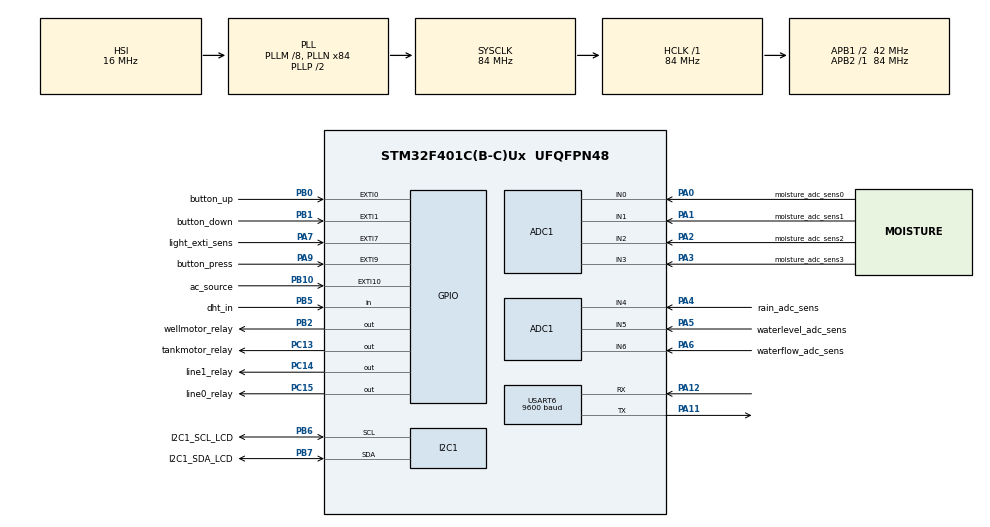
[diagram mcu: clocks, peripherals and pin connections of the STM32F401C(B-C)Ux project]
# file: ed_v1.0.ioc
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Mcu.Family=STM32F4
RCC.CortexFreq_Value=84000000
RTC.Alarm=RTC_ALARM_A
SH.ADCx_IN2.0=ADC1_IN2,IN2
ADC1.SamplingTime-6\#ChannelRegularConversion=ADC_SAMPLETIME_15CYCLES
VP_RTC_VS_RTC_Activate.Mode=RTC_Enabled
RTC.WeekDay=RTC_WEEKDAY_MONDAY
PA11.Mode=Asynchronous
PB0.GPIO_Label=button_up
PA6.GPIO_Label=waterflow_adc_sens
PB6.GPIO_Label=I2C1_SCL_LCD
PC15-OSC32_OUT.GPIO_Label=line0_relay
VP_RTC_VS_RTC_Alarm_A_Intern.Mode=Alarm A
RCC.SYSCLKSource=RCC_SYSCLKSOURCE_PLLCLK
ProjectManager.StackSize=0x400
RTC.AlarmDateWeekDay=RTC_WEEKDAY_WEDNESDAY
NVIC.ADC_IRQn=true\:0\:0\:false\:false\:true\:true\:true
NVIC.EXTI1_IRQn=true\:0\:0\:false\:false\:true\:true\:true
PA12.Signal=USART6_RX
RTC.SynchPrediv=285
TIM1.Prescaler=84-1
PH0\ -\ OSC_IN.Signal=RCC_OSC_IN
ADC1.Channel-5\#ChannelRegularConversion=ADC_CHANNEL_5
ADC1.Channel-3\#ChannelRegularConversion=ADC_CHANNEL_3
PB1.GPIO_PuPd=GPIO_PULLDOWN
RCC.HCLKFreq_Value=84000000
SH.ADCx_IN3.0=ADC1_IN3,IN3
RCC.APB2TimFreq_Value=84000000
PB6.Signal=I2C1_SCL
Dma.ADC1.0.Direction=DMA_PERIPH_TO_MEMORY
ADC1.Channel-2\#ChannelRegularConversion=ADC_CHANNEL_2
PB6.Mode=I2C
NVIC.DMA2_Stream0_IRQn=true\:0\:0\:false\:false\:true\:false\:true
Dma.ADC1.0.MemDataAlignment=DMA_MDATAALIGN_HALFWORD
RCC.AHBFreq_Value=84000000
NVIC.EXTI15_10_IRQn=true\:0\:0\:false\:false\:true\:true\:true
ADC1.Channel-0\#ChannelRegularConversion=ADC_CHANNEL_0
RCC.HSE_VALUE=25000000
RTC.Minutes=30
PB2.Signal=GPIO_Output
ADC1.ScanConvMode=ENABLE
PC13-ANTI_TAMP.Signal=GPIO_Output
ADC1.SamplingTime-4\#ChannelRegularConversion=ADC_SAMPLETIME_15CYCLES
ADC1.Channel-6\#ChannelRegularConversion=ADC_CHANNEL_6
ADC1.Rank-2\#ChannelRegularConversion=3
RTC.Month=RTC_MONTH_JUNE
PB1.GPIO_Label=button_down
Dma.ADC1.0.PeriphInc=DMA_PINC_DISABLE
PB7.Signal=I2C1_SDA
SH.ADCx_IN0.0=ADC1_IN0,IN0
PC15-OSC32_OUT.PinState=GPIO_PIN_SET
VP_TIM1_VS_ClockSourceINT.Mode=Internal
ADC1.SamplingTime-0\#ChannelRegularConversion=ADC_SAMPLETIME_15CYCLES
RTC.AlarmDateWeekDaySel=RTC_ALARMDATEWEEKDAYSEL_WEEKDAY
PB7.GPIO_Label=I2C1_SDA_LCD
Mcu.Package=UFQFPN48
PB1.Signal=GPXTI1
PA6.Signal=ADCx_IN6
PC14-OSC32_IN.PinState=GPIO_PIN_SET
USART6.VirtualMode=VM_ASYNC
PA2.GPIO_Label=moisture_adc_sens2
VP_RTC_VS_RTC_Calendar.Mode=RTC_Calendar
RTC.Hours_A=17
USART6.BaudRate=9600
SH.ADCx_IN1.0=ADC1_IN1,IN1
PB5.GPIO_Label=dht_in
RCC.APB1TimFreq_Value=84000000
Dma.ADC1.0.FIFOMode=DMA_FIFOMODE_DISABLE
PC14-OSC32_IN.GPIO_Label=line1_relay
TIM1.Period=0xffff-1
ADC1.Rank-6\#ChannelRegularConversion=7
Dma.Request0=ADC1
PA4.GPIO_Label=rain_adc_sens
RTC.Seconds_A=15
ADC1.Rank-4\#ChannelRegularConversion=5
PA3.Signal=ADCx_IN3
Dma.ADC1.0.Instance=DMA2_Stream0
ADC1.Rank-0\#ChannelRegularConversion=1
ADC1.Channel-4\#ChannelRegularConversion=ADC_CHANNEL_4
SH.ADCx_IN6.0=ADC1_IN6,IN6
PC13-ANTI_TAMP.GPIO_Label=tankmotor_relay
PA9.GPIO_Label=button_press
PH1\ -\ OSC_OUT.Mode=HSE-External-Oscillator
RTC.Minutes_A=30
RCC.APB1CLKDivider=RCC_HCLK_DIV2
PC14-OSC32_IN.Signal=GPIO_Output
ADC1.SamplingTime-2\#ChannelRegularConversion=ADC_SAMPLETIME_15CYCLES
PC13-ANTI_TAMP.PinState=GPIO_PIN_SET
PA0-WKUP.GPIO_Label=moisture_adc_sens0
PA0-WKUP.Signal=ADCx_IN0
NVIC.USART6_IRQn=true\:0\:0\:false\:false\:true\:true\:true
Dma.ADC1.0.PeriphDataAlignment=DMA_PDATAALIGN_HALFWORD
PH0\ -\ OSC_IN.Mode=HSE-External-Oscillator
ProjectManager.TargetToolchain=STM32CubeIDE
PB10.GPIO_Label=ac_source
RTC.Year=22
Dma.ADC1.0.Mode=DMA_NORMAL
I2C1.I2C_Mode=I2C_Fast
Dma.ADC1.0.Priority=DMA_PRIORITY_LOW
PA9.Signal=GPXTI9
ADC1.Channel-1\#ChannelRegularConversion=ADC_CHANNEL_1
RCC.LSE_VALUE=32768
PC15-OSC32_OUT.Signal=GPIO_Output
PA1.Signal=ADCx_IN1
PB10.Signal=GPXTI10
PA5.Signal=ADCx_IN5
PH1\ -\ OSC_OUT.Signal=RCC_OSC_OUT
board=custom
RCC.VCOOutputFreq_Value=168000000
ADC1.EnableAnalogWatchDog=false
RCC.APB2Freq_Value=84000000
PA1.GPIO_Label=moisture_adc_sens1
SH.ADCx_IN4.0=ADC1_IN4,IN4
ADC1.DMAContinuousRequests=ENABLE
ADC1.NbrOfConversion=7
NVIC.RTC_Alarm_IRQn=true\:0\:0\:false\:false\:true\:true\:true
PB2.PinState=GPIO_PIN_SET
Mcu.Name=STM32F401C(B-C)Ux
PA2.Signal=ADCx_IN2
RCC.48MHZClocksFreq_Value=42000000
NVIC.EXTI0_IRQn=true\:0\:0\:false\:false\:true\:true\:true
PA4.Signal=ADCx_IN4
ADC1.SamplingTime-1\#ChannelRegularConversion=ADC_SAMPLETIME_15CYCLES
RCC.SYSCLKFreq_VALUE=84000000
RTC.Hours=17
PB5.Signal=GPIO_Input
PA7.GPIO_Label=light_exti_sens
ADC1.master=1
PA12.Mode=Asynchronous
PA5.GPIO_Label=waterlevel_adc_sens
ADC1.Rank-3\#ChannelRegularConversion=4
ADC1.SamplingTime-3\#ChannelRegularConversion=ADC_SAMPLETIME_15CYCLES
ADC1.Rank-1\#ChannelRegularConversion=2
PB7.Mode=I2C
PA11.Signal=USART6_TX
NVIC.EXTI9_5_IRQn=true\:0\:0\:false\:false\:true\:true\:true
Dma.ADC1.0.MemInc=DMA_MINC_ENABLE
PB2.GPIO_Label=wellmotor_relay
ProjectManager.HeapSize=0x200
ADC1.SamplingTime-5\#ChannelRegularConversion=ADC_SAMPLETIME_15CYCLES
RCC.HSI_VALUE=16000000
SH.ADCx_IN5.0=ADC1_IN5,IN5
NVIC.PriorityGroup=NVIC_PRIORITYGROUP_4
ADC1.NbrOfConversionFlag=1
RCC.PLLM=8
RCC.PLLN=84
RTC.Seconds=10
RCC.APB1Freq_Value=42000000
PB0.Signal=GPXTI0
RTC.Date=13
ADC1.Rank-5\#ChannelRegularConversion=6
PB0.GPIO_PuPd=GPIO_PULLDOWN
PA3.GPIO_Label=moisture_adc_sens3
PA7.Signal=GPXTI7

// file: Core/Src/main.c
/* USER CODE BEGIN Header */
/**
  ******************************************************************************
  * @file           : main.cIGULI
  * @brief          : Main program body
  ******************************************************************************
  * @attention
  *
  * <h2><center>&copy; Copyright (c) 2022 STMicroelectronics.
  * All rights reserved.</center></h2>
  *
  * This software component is licensed by ST under BSD 3-Clause license,
  * the "License"; You may not use this file except in compliance with the
  * License. You may obtain a copy of the License at:
  *                        opensource.org/licenses/BSD-3-Clause
  *
  ******************************************************************************
  */
/* USER CODE END Header */
#include "main.h"

/* USER CODE BEGIN Includes */
#include "adc_conversion_handler.h"
#include "lcd16x2_i2c.h"
#include "i2c-lcd.h"
#include "stdio.h"
#include "stdbool.h"
#include "stdint.h"
#include "string.h"
#include "stdlib.h"
#include "cJSON.h"
/* USER CODE END Includes */

/* USER CODE BEGIN PD */
#define DHT11_PORT GPIOB
#define DHT11_PIN GPIO_PIN_5
/* USER CODE END PD */

ADC_HandleTypeDef hadc1;
DMA_HandleTypeDef hdma_adc1;

I2C_HandleTypeDef hi2c1;

RTC_HandleTypeDef hrtc;

TIM_HandleTypeDef htim1;

UART_HandleTypeDef huart6;

/* USER CODE BEGIN PV */

/* ADC Variables */
volatile uint16_t adc_result_dma[7];
const int adc_channel_lenght = sizeof(adc_result_dma) / sizeof(adc_result_dma[0]);
int adc_result_percentage[7];
const int moist_per_line[] = {2,2};
const int adc_line_number = 2;
const int adc_moist_number = 4;
int adc_result_line_avg_percentage = 0;
int adc_line_avg[2] = {0,0};
int adc_total_moist_avg = 0;

char adc_percentage_s0[5];
char adc_percentage_s1[5];
char adc_percentage_s2[5];
char adc_percentage_s3[5];

/* Menu Variable */
int menu_lcd_refresh = 0;
int menu_click = 0;
int menu_up = 0;
int menu_down = 0;
int next_page=0;
int current_page = 0;
int menu_refresher = 0;

/* Manual Mode Variables */
int mode_manual_start = 0;

/* Planner Mode Variables */
int planner_line_compare[2] = {50,80};
int planner_line_lenght = sizeof(planner_line_compare) /sizeof(planner_line_compare[0]);
int relay_set[2];
int relay_end_flag = 0;
int line_relays[] = {line0_relay_Pin, line1_relay_Pin};
int global_planner_start = 0;
int global_planner_active = 1;

int planner_start_time_hours = 17; //0-24
int planner_start_time_mins = 30; //0-60
int planner_weekdays [7] = {0,0,0,0,0,0,0};

/* Auto Mode Variables ------------------------------------------*/
int auto_modes[2][4][9] = {{{1,20,0,0,0,1,0,0,0}, {2,20,0,1,0,0,0,1,0}, {2,30,0,1,0,0,1,0,0}, {2,60,0,1,0,0,1,0,0}},
							{{1,30,0,0,0,1,0,0,0}, {2,30,0,1,0,0,0,1,0}, {3,60,0,1,0,1,0,1,0}, {3,120,0,1,0,1,0,1,0}}};

// 0:High Temp | 1:Low Temp | 2:High Moist | 3:Low Moist
int auto_limits[4] = {35,20,60,40};

// 0:Sapling | 1:Tree
int auto_irrigation_time[2];

/*	Index = 0:Sapling | 1:Tree
	Value = 0:Low | 1:Mid | 2:High */
int auto_mode_param[2];

int auto_start_time_hours = 18; //2400 format
int auto_start_time_mins = 0;
int auto_avg_temp = 0;
int auto_avg_airhum = 0;
int auto_week_skip_vector[7] = {0,0,0,0,0,0,0};
int week_reset_flag = 0;
int reset_day = 0;
/* Auto Mode Variables End------------------------------------------*/

/* Real Time Clock */
RTC_TimeTypeDef currTime = {0};
RTC_DateTypeDef currDate = {0};
char timeBuff[20];
char dateBuff[20];
int set_hours = 0; 		int set_minutes = 0; int set_seconds = 0;
int set_weekday = 0;  	int set_month = 0;   int set_date = 0;
int set_year = 0;

RTC_AlarmTypeDef sAlarmA = {0};
RTC_AlarmTypeDef sAlarmB = {0};
int current_hour = 0;
int current_min = 0;
int current_wday = 0;

/* DHT Temp Sensor Variables */
uint8_t Rh_byte1, Rh_byte2, Temp_byte1, Temp_byte2;
uint16_t SUM, RH, TEMP;

float inst_temperature = 0;
float inst_humidity = 0;
uint8_t Presence = 0;
char inst_temperature_s[5];
char inst_humidity_s[5];

/* ESP32-UART Variables */

char str_tempJSON[1000], str_humJSON[1000], str_flowJSON[1000], str_s1JSON[1000], str_s2JSON[1000];
char str_s3JSON[1000], str_s4JSON[800], str_rainJSON[800], str_daylightJSON[800], str_tankJSON[1000];
char str_modJSON[1000], str_relaytankJSON[800], str_relaywellJSON[1000], str_relayline1JSON[1000];
char str_relayline2JSON[1000], str_donewateringJSON[1000];
char str_debughourJSON[1000];
char str_debugminuteJSON[1000];
char str_debugskipdayJSON[1000];

int wellrelay = 0;
int tankrelay = 0;
int line1relay = 0;
int line2relay = 0;
int donewatering = 0;
int rain = 0;
int daylight = 0;
int current_mode = 0;
int waterflow = 0;
int auto_select = 0;

char JSON[1200];
char rx_buffer[200];

uint8_t rx_data = 0;
unsigned int rx_index = 0;

cJSON *str_json, *str_c_tempJSON;
long last = 0;

/* DEBUG Variables */
int yanked;
int x =0;
int a =5;
int b=8;
int testDummy_manual = 0;
int nextday_dummy = 0;
int mode_dummy = 0;
int debug_hours = 0;
int debug_mins = 0;
int auto_debug_weekday = 0;
int debug_auto_case =0;
int skipday = 0;

/* USER CODE END PV */

void SystemClock_Config(void);
static void MX_GPIO_Init(void);
static void MX_DMA_Init(void);
static void MX_RTC_Init(void);
static void MX_I2C1_Init(void);
static void MX_TIM1_Init(void);
static void MX_ADC1_Init(void);
static void MX_USART6_UART_Init(void);
/* USER CODE BEGIN PFP */

//MENU
void menu_func(int refresh, int reset);
void lcd_initial_message();

//MODES
void mode_manual(int start);
void mode_planner(int auto_current_mode, int start);
void mode_auto();

//DELAY
void delay_us (uint16_t us);

//DHT PROTOTYPES
void DHT11_Start (void);
uint8_t DHT11_Check_Response (void);
uint8_t DHT11_Read (void);
void Set_Pin_Input (GPIO_TypeDef *GPIOx, uint16_t GPIO_Pin);
void Set_Pin_Output (GPIO_TypeDef *GPIOx, uint16_t GPIO_Pin);
void DHT11_get_value();

//RTC PROTOTYPES
void set_time (int set_hours, int set_minutes, int set_weekday);
void get_time();
void set_alarm(int hours_hex, int mins_hex, int weekday_hex);
int bcdToDec(int val);
int decToBcd(int val);

//ESP32 Connections
void SendData(unsigned int tempJSON, unsigned int humJSON, unsigned int flowJSON, unsigned int s1JSON, unsigned int s2JSON,
		unsigned int s3JSON, unsigned int s4JSON, unsigned int rainJSON, unsigned int daylightJSON, unsigned int tankJSON,
		unsigned int modJSON, unsigned int relaytankJSON, unsigned int relaywellJSON, unsigned int relayline1JSON,
		unsigned int relayline2JSON, unsigned int donewateringJSON,
		unsigned int debughourJSON, unsigned int debugminuteJSON, unsigned int debugskipdayJSON);

void uart_received(void);
void clearbufferEnd(void);
void XuLyJson(char *DataJson);

/* USER CODE END PFP */

int main(void)
{

  /* MCU Configuration--------------------------------------------------------*/

  /* Reset of all peripherals, Initializes the Flash interface and the Systick. */
  HAL_Init();

  /* Configure the system clock */
  SystemClock_Config();

  /* Initialize all configured peripherals */
  MX_GPIO_Init();
  MX_DMA_Init();
  MX_RTC_Init();
  MX_I2C1_Init();
  MX_TIM1_Init();
  MX_ADC1_Init();
  MX_USART6_UART_Init();
  /* USER CODE BEGIN 2 */

  HAL_RTCEx_SetSmoothCalib(&hrtc, RTC_SMOOTHCALIB_PERIOD_32SEC, RTC_SMOOTHCALIB_PLUSPULSES_RESET, -511);
  HAL_TIM_Base_Start(&htim1);
  lcd_initial_message();
  HAL_UART_Receive_IT(&huart6, &rx_data, 1);
  last = HAL_GetTick();

  /* USER CODE END 2 */

  /* Infinite loop */
  while (1)
  {

    /* USER CODE BEGIN 3 */
	  HAL_Delay(500);
	  DHT11_get_value();
	  HAL_Delay(900);
	  get_time();
	  HAL_ADC_Start_DMA(&hadc1, (uint32_t*)adc_result_dma, adc_channel_lenght);
	  if(menu_refresher == 10){
		  menu_lcd_refresh = 1;
		  menu_refresher = 0;
	  }else{
		  menu_refresher++;
	  }

	  if(HAL_GetTick() - last >= 1500){
	  		  SendData(inst_temperature, inst_humidity, waterflow ,adc_result_percentage[0],
	  				  adc_result_percentage[1],adc_result_percentage[2], adc_result_percentage[3], rain, daylight,
					  adc_result_percentage[5], current_mode, tankrelay, wellrelay, line1relay, line2relay,
					  donewatering, current_hour, current_min, skipday);
	  		  last = HAL_GetTick();
	  	  }
	  mode_planner(0, global_planner_start);
	  menu_func(menu_lcd_refresh, 0);
	  HAL_Delay(100);

	  if(nextday_dummy){
		  set_time (decToBcd(17), decToBcd(30), auto_debug_weekday);
	  }
  }
  /* USER CODE END 3 */
}

void SystemClock_Config(void)
{
  RCC_OscInitTypeDef RCC_OscInitStruct = {0};
  RCC_ClkInitTypeDef RCC_ClkInitStruct = {0};
  RCC_PeriphCLKInitTypeDef PeriphClkInitStruct = {0};

  /** Configure the main internal regulator output voltage
  */
  __HAL_RCC_PWR_CLK_ENABLE();
  __HAL_PWR_VOLTAGESCALING_CONFIG(PWR_REGULATOR_VOLTAGE_SCALE2);
  /** Initializes the RCC Oscillators according to the specified parameters
  * in the RCC_OscInitTypeDef structure.
  */
  RCC_OscInitStruct.OscillatorType = RCC_OSCILLATORTYPE_HSI|RCC_OSCILLATORTYPE_LSI;
  RCC_OscInitStruct.HSIState = RCC_HSI_ON;
  RCC_OscInitStruct.HSICalibrationValue = RCC_HSICALIBRATION_DEFAULT;
  RCC_OscInitStruct.LSIState = RCC_LSI_ON;
  RCC_OscInitStruct.PLL.PLLState = RCC_PLL_ON;
  RCC_OscInitStruct.PLL.PLLSource = RCC_PLLSOURCE_HSI;
  RCC_OscInitStruct.PLL.PLLM = 8;
  RCC_OscInitStruct.PLL.PLLN = 84;
  RCC_OscInitStruct.PLL.PLLP = RCC_PLLP_DIV2;
  RCC_OscInitStruct.PLL.PLLQ = 4;
  if (HAL_RCC_OscConfig(&RCC_OscInitStruct) != HAL_OK)
  {
    Error_Handler();
  }
  /** Initializes the CPU, AHB and APB buses clocks
  */
  RCC_ClkInitStruct.ClockType = RCC_CLOCKTYPE_HCLK|RCC_CLOCKTYPE_SYSCLK
                              |RCC_CLOCKTYPE_PCLK1|RCC_CLOCKTYPE_PCLK2;
  RCC_ClkInitStruct.SYSCLKSource = RCC_SYSCLKSOURCE_PLLCLK;
  RCC_ClkInitStruct.AHBCLKDivider = RCC_SYSCLK_DIV1;
  RCC_ClkInitStruct.APB1CLKDivider = RCC_HCLK_DIV2;
  RCC_ClkInitStruct.APB2CLKDivider = RCC_HCLK_DIV1;

  if (HAL_RCC_ClockConfig(&RCC_ClkInitStruct, FLASH_LATENCY_2) != HAL_OK)
  {
    Error_Handler();
  }
  PeriphClkInitStruct.PeriphClockSelection = RCC_PERIPHCLK_RTC;
  PeriphClkInitStruct.RTCClockSelection = RCC_RTCCLKSOURCE_LSI;
  if (HAL_RCCEx_PeriphCLKConfig(&PeriphClkInitStruct) != HAL_OK)
  {
    Error_Handler();
  }
}

static void MX_ADC1_Init(void)
{

  ADC_ChannelConfTypeDef sConfig = {0};

  /** Configure the global features of the ADC (Clock, Resolution, Data Alignment and number of conversion)
  */
  hadc1.Instance = ADC1;
  hadc1.Init.ClockPrescaler = ADC_CLOCK_SYNC_PCLK_DIV4;
  hadc1.Init.Resolution = ADC_RESOLUTION_12B;
  hadc1.Init.ScanConvMode = ENABLE;
  hadc1.Init.ContinuousConvMode = DISABLE;
  hadc1.Init.DiscontinuousConvMode = DISABLE;
  hadc1.Init.ExternalTrigConvEdge = ADC_EXTERNALTRIGCONVEDGE_NONE;
  hadc1.Init.ExternalTrigConv = ADC_SOFTWARE_START;
  hadc1.Init.DataAlign = ADC_DATAALIGN_RIGHT;
  hadc1.Init.NbrOfConversion = 7;
  hadc1.Init.DMAContinuousRequests = ENABLE;
  hadc1.Init.EOCSelection = ADC_EOC_SINGLE_CONV;
  if (HAL_ADC_Init(&hadc1) != HAL_OK)
  {
    Error_Handler();
  }
  /** Configure for the selected ADC regular channel its corresponding rank in the sequencer and its sample time.
  */
  sConfig.Channel = ADC_CHANNEL_0;
  sConfig.Rank = 1;
  sConfig.SamplingTime = ADC_SAMPLETIME_15CYCLES;
  if (HAL_ADC_ConfigChannel(&hadc1, &sConfig) != HAL_OK)
  {
    Error_Handler();
  }
  /** Configure for the selected ADC regular channel its corresponding rank in the sequencer and its sample time.
  */
  sConfig.Channel = ADC_CHANNEL_1;
  sConfig.Rank = 2;
  if (HAL_ADC_ConfigChannel(&hadc1, &sConfig) != HAL_OK)
  {
    Error_Handler();
  }
  /** Configure for the selected ADC regular channel its corresponding rank in the sequencer and its sample time.
  */
  sConfig.Channel = ADC_CHANNEL_2;
  sConfig.Rank = 3;
  if (HAL_ADC_ConfigChannel(&hadc1, &sConfig) != HAL_OK)
  {
    Error_Handler();
  }
  /** Configure for the selected ADC regular channel its corresponding rank in the sequencer and its sample time.
  */
  sConfig.Channel = ADC_CHANNEL_3;
  sConfig.Rank = 4;
  if (HAL_ADC_ConfigChannel(&hadc1, &sConfig) != HAL_OK)
  {
    Error_Handler();
  }
  /** Configure for the selected ADC regular channel its corresponding rank in the sequencer and its sample time.
  */
  sConfig.Channel = ADC_CHANNEL_4;
  sConfig.Rank = 5;
  if (HAL_ADC_ConfigChannel(&hadc1, &sConfig) != HAL_OK)
  {
    Error_Handler();
  }
  /** Configure for the selected ADC regular channel its corresponding rank in the sequencer and its sample time.
  */
  sConfig.Channel = ADC_CHANNEL_5;
  sConfig.Rank = 6;
  if (HAL_ADC_ConfigChannel(&hadc1, &sConfig) != HAL_OK)
  {
    Error_Handler();
  }
  /** Configure for the selected ADC regular channel its corresponding rank in the sequencer and its sample time.
  */
  sConfig.Channel = ADC_CHANNEL_6;
  sConfig.Rank = 7;
  if (HAL_ADC_ConfigChannel(&hadc1, &sConfig) != HAL_OK)
  {
    Error_Handler();
  }

}

static void MX_I2C1_Init(void)
{

  hi2c1.Instance = I2C1;
  hi2c1.Init.ClockSpeed = 400000;
  hi2c1.Init.DutyCycle = I2C_DUTYCYCLE_2;
  hi2c1.Init.OwnAddress1 = 0;
  hi2c1.Init.AddressingMode = I2C_ADDRESSINGMODE_7BIT;
  hi2c1.Init.DualAddressMode = I2C_DUALADDRESS_DISABLE;
  hi2c1.Init.OwnAddress2 = 0;
  hi2c1.Init.GeneralCallMode = I2C_GENERALCALL_DISABLE;
  hi2c1.Init.NoStretchMode = I2C_NOSTRETCH_DISABLE;
  if (HAL_I2C_Init(&hi2c1) != HAL_OK)
  {
    Error_Handler();
  }

}

static void MX_RTC_Init(void)
{

  RTC_TimeTypeDef sTime = {0};
  RTC_DateTypeDef sDate = {0};
  RTC_AlarmTypeDef sAlarm = {0};

  /** Initialize RTC Only
  */
  hrtc.Instance = RTC;
  hrtc.Init.HourFormat = RTC_HOURFORMAT_24;
  hrtc.Init.AsynchPrediv = 127;
  hrtc.Init.SynchPrediv = 285;
  hrtc.Init.OutPut = RTC_OUTPUT_DISABLE;
  hrtc.Init.OutPutPolarity = RTC_OUTPUT_POLARITY_HIGH;
  hrtc.Init.OutPutType = RTC_OUTPUT_TYPE_OPENDRAIN;
  if (HAL_RTC_Init(&hrtc) != HAL_OK)
  {
    Error_Handler();
  }

  /** Initialize RTC and set the Time and Date
  */
  sTime.Hours = 0x17;
  sTime.Minutes = 0x30;
  sTime.Seconds = 0x10;
  sTime.DayLightSaving = RTC_DAYLIGHTSAVING_NONE;
  sTime.StoreOperation = RTC_STOREOPERATION_RESET;
  if (HAL_RTC_SetTime(&hrtc, &sTime, RTC_FORMAT_BCD) != HAL_OK)
  {
    Error_Handler();
  }
  sDate.WeekDay = RTC_WEEKDAY_MONDAY;
  sDate.Month = RTC_MONTH_JUNE;
  sDate.Date = 0x13;
  sDate.Year = 0x22;

  if (HAL_RTC_SetDate(&hrtc, &sDate, RTC_FORMAT_BCD) != HAL_OK)
  {
    Error_Handler();
  }
  /** Enable the Alarm A
  */
  sAlarm.AlarmTime.Hours = 0x17;
  sAlarm.AlarmTime.Minutes = 0x30;
  sAlarm.AlarmTime.Seconds = 0x15;
  sAlarm.AlarmTime.SubSeconds = 0x0;
  sAlarm.AlarmTime.DayLightSaving = RTC_DAYLIGHTSAVING_NONE;
  sAlarm.AlarmTime.StoreOperation = RTC_STOREOPERATION_RESET;
  sAlarm.AlarmMask = RTC_ALARMMASK_NONE;
  sAlarm.AlarmSubSecondMask = RTC_ALARMSUBSECONDMASK_ALL;
  sAlarm.AlarmDateWeekDaySel = RTC_ALARMDATEWEEKDAYSEL_WEEKDAY;
  sAlarm.AlarmDateWeekDay = RTC_WEEKDAY_WEDNESDAY;
  sAlarm.Alarm = RTC_ALARM_A;
  if (HAL_RTC_SetAlarm_IT(&hrtc, &sAlarm, RTC_FORMAT_BCD) != HAL_OK)
  {
    Error_Handler();
  }

}

static void MX_TIM1_Init(void)
{

  TIM_ClockConfigTypeDef sClockSourceConfig = {0};
  TIM_MasterConfigTypeDef sMasterConfig = {0};

  htim1.Instance = TIM1;
  htim1.Init.Prescaler = 84-1;
  htim1.Init.CounterMode = TIM_COUNTERMODE_UP;
  htim1.Init.Period = 0xffff-1;
  htim1.Init.ClockDivision = TIM_CLOCKDIVISION_DIV1;
  htim1.Init.RepetitionCounter = 0;
  htim1.Init.AutoReloadPreload = TIM_AUTORELOAD_PRELOAD_DISABLE;
  if (HAL_TIM_Base_Init(&htim1) != HAL_OK)
  {
    Error_Handler();
  }
  sClockSourceConfig.ClockSource = TIM_CLOCKSOURCE_INTERNAL;
  if (HAL_TIM_ConfigClockSource(&htim1, &sClockSourceConfig) != HAL_OK)
  {
    Error_Handler();
  }
  sMasterConfig.MasterOutputTrigger = TIM_TRGO_RESET;
  sMasterConfig.MasterSlaveMode = TIM_MASTERSLAVEMODE_DISABLE;
  if (HAL_TIMEx_MasterConfigSynchronization(&htim1, &sMasterConfig) != HAL_OK)
  {
    Error_Handler();
  }

}

static void MX_USART6_UART_Init(void)
{

  huart6.Instance = USART6;
  huart6.Init.BaudRate = 9600;
  huart6.Init.WordLength = UART_WORDLENGTH_8B;
  huart6.Init.StopBits = UART_STOPBITS_1;
  huart6.Init.Parity = UART_PARITY_NONE;
  huart6.Init.Mode = UART_MODE_TX_RX;
  huart6.Init.HwFlowCtl = UART_HWCONTROL_NONE;
  huart6.Init.OverSampling = UART_OVERSAMPLING_16;
  if (HAL_UART_Init(&huart6) != HAL_OK)
  {
    Error_Handler();
  }

}

static void MX_DMA_Init(void)
{

  /* DMA controller clock enable */
  __HAL_RCC_DMA2_CLK_ENABLE();

  /* DMA interrupt init */
  /* DMA2_Stream0_IRQn interrupt configuration */
  HAL_NVIC_SetPriority(DMA2_Stream0_IRQn, 0, 0);
  HAL_NVIC_EnableIRQ(DMA2_Stream0_IRQn);

}

static void MX_GPIO_Init(void)
{
  GPIO_InitTypeDef GPIO_InitStruct = {0};

  /* GPIO Ports Clock Enable */
  __HAL_RCC_GPIOC_CLK_ENABLE();
  __HAL_RCC_GPIOH_CLK_ENABLE();
  __HAL_RCC_GPIOA_CLK_ENABLE();
  __HAL_RCC_GPIOB_CLK_ENABLE();

  /*Configure GPIO pin Output Level */
  HAL_GPIO_WritePin(GPIOC, tankmotor_relay_Pin|line1_relay_Pin|line0_relay_Pin, GPIO_PIN_SET);

  /*Configure GPIO pin Output Level */
  HAL_GPIO_WritePin(wellmotor_relay_GPIO_Port, wellmotor_relay_Pin, GPIO_PIN_SET);

  /*Configure GPIO pins : tankmotor_relay_Pin line1_relay_Pin line0_relay_Pin */
  GPIO_InitStruct.Pin = tankmotor_relay_Pin|line1_relay_Pin|line0_relay_Pin;
  GPIO_InitStruct.Mode = GPIO_MODE_OUTPUT_PP;
  GPIO_InitStruct.Pull = GPIO_NOPULL;
  GPIO_InitStruct.Speed = GPIO_SPEED_FREQ_LOW;
  HAL_GPIO_Init(GPIOC, &GPIO_InitStruct);

  /*Configure GPIO pins : light_exti_sens_Pin button_press_Pin */
  GPIO_InitStruct.Pin = light_exti_sens_Pin|button_press_Pin;
  GPIO_InitStruct.Mode = GPIO_MODE_IT_RISING;
  GPIO_InitStruct.Pull = GPIO_NOPULL;
  HAL_GPIO_Init(GPIOA, &GPIO_InitStruct);

  /*Configure GPIO pins : button_up_Pin button_down_Pin */
  GPIO_InitStruct.Pin = button_up_Pin|button_down_Pin;
  GPIO_InitStruct.Mode = GPIO_MODE_IT_RISING;
  GPIO_InitStruct.Pull = GPIO_PULLDOWN;
  HAL_GPIO_Init(GPIOB, &GPIO_InitStruct);

  /*Configure GPIO pin : wellmotor_relay_Pin */
  GPIO_InitStruct.Pin = wellmotor_relay_Pin;
  GPIO_InitStruct.Mode = GPIO_MODE_OUTPUT_PP;
  GPIO_InitStruct.Pull = GPIO_NOPULL;
  GPIO_InitStruct.Speed = GPIO_SPEED_FREQ_LOW;
  HAL_GPIO_Init(wellmotor_relay_GPIO_Port, &GPIO_InitStruct);

  /*Configure GPIO pin : ac_source_Pin */
  GPIO_InitStruct.Pin = ac_source_Pin;
  GPIO_InitStruct.Mode = GPIO_MODE_IT_RISING;
  GPIO_InitStruct.Pull = GPIO_NOPULL;
  HAL_GPIO_Init(ac_source_GPIO_Port, &GPIO_InitStruct);

  /*Configure GPIO pin : dht_in_Pin */
  GPIO_InitStruct.Pin = dht_in_Pin;
  GPIO_InitStruct.Mode = GPIO_MODE_INPUT;
  GPIO_InitStruct.Pull = GPIO_NOPULL;
  HAL_GPIO_Init(dht_in_GPIO_Port, &GPIO_InitStruct);

  /* EXTI interrupt init*/
  HAL_NVIC_SetPriority(EXTI0_IRQn, 0, 0);
  HAL_NVIC_EnableIRQ(EXTI0_IRQn);

  HAL_NVIC_SetPriority(EXTI1_IRQn, 0, 0);
  HAL_NVIC_EnableIRQ(EXTI1_IRQn);

  HAL_NVIC_SetPriority(EXTI9_5_IRQn, 0, 0);
  HAL_NVIC_EnableIRQ(EXTI9_5_IRQn);

  HAL_NVIC_SetPriority(EXTI15_10_IRQn, 0, 0);
  HAL_NVIC_EnableIRQ(EXTI15_10_IRQn);

}

/* USER CODE BEGIN 4 */

void delay_us (uint16_t us)
{
	__HAL_TIM_SET_COUNTER(&htim1,0);  // set the counter value a 0
	while (__HAL_TIM_GET_COUNTER(&htim1) < us);  // wait for the counter to reach the us input in the parameter
}

/*-----------------INTERRUPTS BEGIN-----------------------*/
void HAL_ADC_ConvCpltCallback(ADC_HandleTypeDef* hadc){
	if(hadc == &hadc1){
		for(int x =0; x<adc_moist_number-1; x++){
			adc_result_dma[x] = (adc_result_dma[x]> 2730) ? 2730:adc_result_dma[x];
			adc_result_dma[x] = (adc_result_dma[x]< 1260) ? 1260:adc_result_dma[x];
			adc_result_percentage[x] = 100-((adc_result_dma[x]-1260)*100/1470);
		}
		//Different Moisture Sensor
		adc_result_dma[3] = (adc_result_dma[3]> 3800) ? 3800:adc_result_dma[3];
		adc_result_dma[3] = (adc_result_dma[3]< 900) ? 900:adc_result_dma[3];
		adc_result_percentage[3] = 100-((adc_result_dma[3]-900)*100/2900);

		adc_result_percentage[5] =100-((adc_result_dma[5])*100/4000);

		//Water Tank Refill Algorithm
		if(adc_result_dma[5] < 1800){
			HAL_GPIO_WritePin(GPIOB, wellmotor_relay_Pin, GPIO_PIN_RESET);
			wellrelay = 1;
		}else{
			HAL_GPIO_WritePin(GPIOB, wellmotor_relay_Pin, GPIO_PIN_SET);
			wellrelay = 0;
		}
		rain = (adc_result_dma[4] < 2600) ? 1:0;
		daylight = (adc_result_dma[4] > 3000) ? 1:0;
		waterflow = ((adc_result_dma[6])*100/4000);

		//Produces Line and Total Average : adc_line_avg and adc_total_moist_avg
		adc_total_moist_avg = 0;
		int y =0;
		int per_line_offset = moist_per_line[0];
		for(int x = 0; x < adc_line_number; x++){
			adc_line_avg[x] = 0;
			for(; y < per_line_offset; y++){
				adc_line_avg[x] += adc_result_percentage[y];
			}
			adc_line_avg[x] /= moist_per_line[x];
		   per_line_offset += moist_per_line[x+1];
		   adc_total_moist_avg += adc_line_avg[x];
		}
		adc_total_moist_avg /= adc_line_number;
	}
}

void HAL_GPIO_EXTI_Callback(uint16_t GPIO_Pin)
{
	menu_lcd_refresh = 1;
    if(GPIO_Pin == button_up_Pin){
    	menu_up = 1;
    }else if(GPIO_Pin == button_down_Pin){
    	menu_down = 1;
    }else if(GPIO_Pin == button_press_Pin){
    	menu_click = 1;
    }
}

void HAL_RTC_AlarmAEventCallback(RTC_HandleTypeDef *hrtc)
{
	if(global_planner_active){
		global_planner_start = 1;
		mode_planner(0, global_planner_start);
	}
}

/*-----------------INTERRUPTS END-----------------------*/

/*-----------------DHT11 BEGIN--------------------------*/
void Set_Pin_Output (GPIO_TypeDef *GPIOx, uint16_t GPIO_Pin)
{
	GPIO_InitTypeDef GPIO_InitStruct = {0};
	GPIO_InitStruct.Pin = GPIO_Pin;
	GPIO_InitStruct.Mode = GPIO_MODE_OUTPUT_PP;
	GPIO_InitStruct.Speed = GPIO_SPEED_FREQ_LOW;
	HAL_GPIO_Init(GPIOx, &GPIO_InitStruct);
}

void Set_Pin_Input (GPIO_TypeDef *GPIOx, uint16_t GPIO_Pin)
{
	GPIO_InitTypeDef GPIO_InitStruct = {0};
	GPIO_InitStruct.Pin = GPIO_Pin;
	GPIO_InitStruct.Mode = GPIO_MODE_INPUT;
	GPIO_InitStruct.Pull = GPIO_PULLUP;
	HAL_GPIO_Init(GPIOx, &GPIO_InitStruct);
}

void DHT11_Start (void)
{
	Set_Pin_Output (DHT11_PORT, DHT11_PIN);  // set the pin as output
	HAL_GPIO_WritePin (DHT11_PORT, DHT11_PIN, GPIO_PIN_RESET);   // pull the pin low
	delay_us (18000);   // wait for 18ms
    HAL_GPIO_WritePin (DHT11_PORT, DHT11_PIN, GPIO_PIN_SET);   // pull the pin high
    delay_us (20);   // wait for 20us
	Set_Pin_Input(DHT11_PORT, DHT11_PIN);    // set as input
}

uint8_t DHT11_Check_Response (void)
{
	uint8_t Response = 0;
	delay_us (40);
	if (!(HAL_GPIO_ReadPin (DHT11_PORT, DHT11_PIN)))
	{
		delay_us (80);
		if ((HAL_GPIO_ReadPin (DHT11_PORT, DHT11_PIN))) Response = 1;
		else Response = -1; // 255
	}
	while ((HAL_GPIO_ReadPin (DHT11_PORT, DHT11_PIN)));   // wait for the pin to go low

	return Response;
}

uint8_t DHT11_Read (void)
{
	uint8_t i,j;
	for (j=0;j<8;j++)
	{
		while (!(HAL_GPIO_ReadPin (DHT11_PORT, DHT11_PIN)));   // wait for the pin to go high
		delay_us (40);   // wait for 40 us
		if (!(HAL_GPIO_ReadPin (DHT11_PORT, DHT11_PIN)))   // if the pin is low
		{
			i&= ~(1<<(7-j));   // write 0
		}
		else i|= (1<<(7-j));  // if the pin is high, write 1
		while ((HAL_GPIO_ReadPin (DHT11_PORT, DHT11_PIN)));  // wait for the pin to go low
	}
	return i;
}

void DHT11_get_value(){
	DHT11_Start();
	Presence = DHT11_Check_Response();
	Rh_byte1 = DHT11_Read ();
	Rh_byte2 = DHT11_Read ();
	Temp_byte1 = DHT11_Read ();
	Temp_byte2 = DHT11_Read ();
	SUM = DHT11_Read();
	TEMP = Temp_byte1;
	RH = Rh_byte1;
	inst_temperature = (float) TEMP;
	inst_humidity = (float) RH;
}

/*-----------------DHT11 END----------------------------*/

/*-----------------MODE FUNCTIONS BEGIN-----------------*/
void mode_manual(int start){
	if(start){
		  current_mode = 1;
		  donewatering = 0;
		  HAL_GPIO_WritePin(GPIOC, tankmotor_relay_Pin, GPIO_PIN_RESET);
		  HAL_GPIO_WritePin(GPIOB, wellmotor_relay_Pin, GPIO_PIN_RESET);
		  wellrelay = 1;
		  tankrelay = 1;
		  delay_us (5000);
		  HAL_GPIO_WritePin(GPIOC, line0_relay_Pin, GPIO_PIN_RESET);
		  HAL_GPIO_WritePin(GPIOC, line1_relay_Pin, GPIO_PIN_RESET);
		  line1relay = 1;
		  line2relay = 1;
	}else{
		current_mode = 0;
		donewatering = 1;
		  HAL_GPIO_WritePin(GPIOC, tankmotor_relay_Pin, GPIO_PIN_SET);
		  HAL_GPIO_WritePin(GPIOB, wellmotor_relay_Pin, GPIO_PIN_SET);
		  wellrelay = 0;
		  tankrelay = 0;
		  delay_us (5000);
		  HAL_GPIO_WritePin(GPIOC, line0_relay_Pin, GPIO_PIN_SET);
		  HAL_GPIO_WritePin(GPIOC, line1_relay_Pin, GPIO_PIN_SET);
		  line1relay = 0;
		  line2relay = 0;
	}
}

void mode_planner(int auto_current_mode, int start){
	if(auto_current_mode == 0 && start == 1){
		current_mode = 2;
		donewatering = 0;
		HAL_GPIO_WritePin(GPIOC, tankmotor_relay_Pin, GPIO_PIN_RESET);
		HAL_GPIO_WritePin(GPIOB, wellmotor_relay_Pin, GPIO_PIN_RESET);
		wellrelay = 1;
		tankrelay = 1;
		delay_us(1000);
		HAL_GPIO_WritePin(GPIOC, line0_relay_Pin, GPIO_PIN_RESET);
		HAL_GPIO_WritePin(GPIOC, line1_relay_Pin, GPIO_PIN_RESET);
		line1relay = 1;
		line2relay = 1;
		for(int x = 0; x < adc_line_number; x++){
			//for(int x = 0; x < moist_per_line[a]; x++){
			if(adc_line_avg[x] >= planner_line_compare[x]){
				relay_set[x] = 1;	//Debug
				relay_end_flag = (relay_end_flag == 2) ? 2:relay_end_flag+1;
				HAL_GPIO_WritePin(GPIOC, line_relays[x], GPIO_PIN_SET);
				line1relay = (x) ? 1:0;
				line2relay = (x) ? 0:1;
			}else{
				relay_set[x] = 0;	//Debug
				relay_end_flag = (relay_end_flag) ? relay_end_flag-1:0;
				HAL_GPIO_WritePin(GPIOC, line_relays[x], GPIO_PIN_RESET);
				line1relay = (x) ? 0:1;
				line2relay = (x) ? 1:0;
			}
			//}
		}
		if(relay_end_flag == 2){
			for(int a = 0; a < 2; a++){
				relay_set[a] = 0;	//Debug
			}
			donewatering = 1;
			global_planner_start = 0;
			relay_end_flag = 0;
			HAL_GPIO_WritePin(GPIOC, tankmotor_relay_Pin, GPIO_PIN_SET);
			HAL_GPIO_WritePin(GPIOB, wellmotor_relay_Pin, GPIO_PIN_SET);
			wellrelay = 0;
			tankrelay = 0;
			delay_us(1000);
			HAL_GPIO_WritePin(GPIOC, line0_relay_Pin, GPIO_PIN_SET);
			HAL_GPIO_WritePin(GPIOC, line1_relay_Pin, GPIO_PIN_SET);
			line1relay = 0;
			line2relay = 0;
			current_mode = 0;

			//Alarm for the Next Day
			for(int x = bcdToDec(current_wday-1); x <7; x++){
				if(planner_weekdays[x] == 1){
					set_alarm(decToBcd(planner_start_time_hours), decToBcd(planner_start_time_mins), x+1);
					break;
				}
			}
		}
	}
}

void mode_auto(int start){
/*
//Saat geldi mi
	//yagisli mi ya da genel toprak nemi >80
	//Gun atlandi mi
		//evet: her modu ertesi gune aktar
			//bu hafta 2. kez yagisliysa sulama yapma bu hafta

		//hayir:
			//sapling + agac
				//hafta ortalamalari hangi moda denk geliyor
					//o modun sulama gunu bugun mu
						//evet: moda gore sula
						///hayir: skip
*/

//Function is called with alarm
	current_mode = 3;
	//int auto_hours = 0;
	//int auto_mins = 0;
//	int auto_secs = 0;

	if(adc_result_dma[4] > 2000 || adc_total_moist_avg > 80 || debug_auto_case == 4){
		//Skip Day
		auto_week_skip_vector[currDate.WeekDay-1] = 1;
		skipday = 1;

		if(week_reset_flag){
			if(currDate.WeekDay == reset_day){
				week_reset_flag = 1;
			}
		}else{
			//Repeated: Skip Rest of the Week
			if(auto_week_skip_vector[(currDate.WeekDay == 1) ? 6:currDate.WeekDay-2] == 1){ //One day before
				reset_day = currDate.WeekDay;
				week_reset_flag = 1;
				for(int x = 0; x <7; x ++){
					skipday = 2;
					auto_week_skip_vector[x] = 1;
				}
			}
		}
	}else{
		if(week_reset_flag){
			if(currDate.WeekDay == reset_day){
				week_reset_flag = 0;
				for(int x = 0; x <7; x ++){
					auto_week_skip_vector[x] = 0;
				}
			}
		}else{
			auto_week_skip_vector[currDate.WeekDay-1] = 0;
		}
	}

	//Day Skipped?
	if(auto_week_skip_vector[(currDate.WeekDay)-1] == 0){
		//Rain or >80 humidity (Just Rained)
		if(inst_humidity > 80 || adc_result_dma[4] > 3000){
			auto_week_skip_vector[(currDate.WeekDay)-1] = 1;
		}
		//else{
			/*for(int x = 0; x < adc_line_number; x++){
				if(auto_avg_temp > auto_limits[0] && auto_avg_airhum < auto_limits[3]){
					//High
					if(auto_modes[x][3][(currDate.WeekDay)+1] == 1){
						auto_select = 0;
						//auto_hours = auto_modes[x][3][1]/60;
						//auto_hours = (auto_hours < 1) ? 0: auto_hours;
						//currTime.Hours, currTime.Minutes, currTime.Seconds
						//void set_time (int set_hours, int set_minutes, int set_seconds, int set_weekday, int set_month, int set_date, int set_year)
						//auto_modes[x][3][1]dk timer ya da alarm
					}
				}else if(auto_avg_temp > auto_limits[0] && auto_avg_airhum < auto_limits[2]){
					//Mid
					if(auto_modes[x][2][(currDate.WeekDay)+1] == 1){
						auto_select = 1;
						//auto_modes[x][2][1]dk timer ya da alarm
					}
				}else if(auto_avg_temp > auto_limits[0]){
					//Low
					if(auto_modes[x][1][(currDate.WeekDay)+1] == 1){
						auto_select = 2;
						//auto_modes[x][1][1]dk timer ya da alarm
					}
				}else if(auto_avg_temp > auto_limits[1]){
					//Min
					if(auto_modes[x][1][(currDate.WeekDay)+1] == 1){
						auto_select = 3;
						//auto_modes[x][1][1]dk timer ya da alarm
					}

				}else{
					//Skip Day
					auto_week_skip_vector[(currDate.WeekDay)-1] = 1;
				}
			}
		}*/
	}
}

/*-----------------MODE FUNCTIONS END-----------------*/

/*-----------------RTC FUNCTIONS BEGIN-----------------*/

int bcdToDec(int val)
{
  return( (val/16*10) + (val%16) );
}

int decToBcd(int val)
{
  return( (val/10*16) + (val%10) );
}

void set_time (int set_hours, int set_minutes, int set_weekday){
	  RTC_TimeTypeDef sTime;
	  RTC_DateTypeDef sDate;
	  sTime.Hours = set_hours;
	  sTime.Minutes = set_minutes;
	  sTime.Seconds = 0x00;
	  sTime.DayLightSaving = RTC_DAYLIGHTSAVING_NONE;
	  sTime.StoreOperation = RTC_STOREOPERATION_RESET;
	  if (HAL_RTC_SetTime(&hrtc, &sTime, RTC_FORMAT_BCD) != HAL_OK)
	  {
	    Error_Handler();
	  }
	  sDate.WeekDay = set_weekday;
	  sDate.Month = RTC_MONTH_JUNE;
	  sDate.Date = 0x13;
	  sDate.Year = 0x22;

	  if (HAL_RTC_SetDate(&hrtc, &sDate, RTC_FORMAT_BCD) != HAL_OK)
	  {
	    Error_Handler();
	  }
}

void set_alarm(int hours_hex, int mins_hex, int weekday_hex){
/* 	RTC_AlarmTypeDef sAlarm = {0};

	sAlarm.AlarmTime.Hours = hours_hex;
	sAlarm.AlarmTime.Minutes = mins_hex;
	sAlarm.AlarmTime.Seconds = 0x15;
	sAlarm.AlarmTime.SubSeconds = 0x0;
	sAlarm.AlarmTime.DayLightSaving = RTC_DAYLIGHTSAVING_NONE;
	sAlarm.AlarmTime.StoreOperation = RTC_STOREOPERATION_RESET;
	sAlarm.AlarmMask = RTC_ALARMMASK_NONE;
	sAlarm.AlarmSubSecondMask = RTC_ALARMSUBSECONDMASK_ALL;
	sAlarm.AlarmDateWeekDaySel = RTC_ALARMDATEWEEKDAYSEL_WEEKDAY;
	sAlarm.AlarmDateWeekDay = weekday_hex;
	sAlarm.Alarm = RTC_ALARM_A;
	if (HAL_RTC_SetAlarm_IT(&hrtc, &sAlarm, RTC_FORMAT_BCD) != HAL_OK)
	{
	Error_Handler();
	}*/

	  sAlarmA.AlarmTime.Hours = hours_hex;
	  sAlarmA.AlarmTime.Minutes = mins_hex;
	  sAlarmA.AlarmTime.Seconds = 0x15;
	  sAlarmA.AlarmTime.SubSeconds = 0x0;
	  sAlarmA.AlarmTime.DayLightSaving = RTC_DAYLIGHTSAVING_NONE;
	  sAlarmA.AlarmTime.StoreOperation = RTC_STOREOPERATION_RESET;
	  sAlarmA.AlarmMask = RTC_ALARMMASK_NONE;
	  sAlarmA.AlarmSubSecondMask = RTC_ALARMSUBSECONDMASK_ALL;
	  sAlarmA.AlarmDateWeekDaySel = RTC_ALARMDATEWEEKDAYSEL_WEEKDAY;
	  sAlarmA.AlarmDateWeekDay = weekday_hex;
	  sAlarmA.Alarm = RTC_ALARM_A;
	  if (HAL_RTC_SetAlarm_IT(&hrtc, &sAlarmA, RTC_FORMAT_BCD) != HAL_OK)
	  {
	    Error_Handler();
	  }
}

void get_time(){
	HAL_RTC_GetTime(&hrtc, &currTime, RTC_FORMAT_BIN);
	HAL_RTC_GetDate(&hrtc, &currDate, RTC_FORMAT_BIN);
	sprintf(timeBuff,"%d,%d.%d", currTime.Hours, currTime.Minutes, currTime.Seconds);
	sprintf(dateBuff,"%02d-%02d-%2d",currDate.Date, currDate.Month, 2000 + currDate.Year);
	current_hour = currTime.Hours;
	current_min = currTime.Minutes;
	current_wday = currDate.WeekDay;
}

/*-----------------RTC FUNCTIONS END-----------------*/

/*-----------------ESP32 UART BEGIN------------------*/
void SendData(unsigned int tempJSON, unsigned int humJSON, unsigned int flowJSON, unsigned int s1JSON, unsigned int s2JSON,
		unsigned int s3JSON, unsigned int s4JSON, unsigned int rainJSON, unsigned int daylightJSON, unsigned int tankJSON,
		unsigned int modJSON, unsigned int relaytankJSON, unsigned int relaywellJSON, unsigned int relayline1JSON,
		unsigned int relayline2JSON, unsigned int donewateringJSON, unsigned int debughourJSON, unsigned int debugminuteJSON,
		unsigned int debugskipdayJSON){

	for(int i = 0; i < 1200; i++){
			JSON[i] = 0;
		}

	for(int i = 0; i < 1000; i++){
		str_tempJSON[i] = 0;
		str_humJSON[i] = 0;
		str_flowJSON[i] = 0;
		str_s1JSON[i] = 0;
		str_s2JSON[i] = 0;
		str_s3JSON[i] = 0;
		str_s4JSON[i] = 0;
		str_rainJSON[i] = 0;
		str_daylightJSON[i] = 0;
		str_tankJSON[i] = 0;
		str_modJSON[i] = 0;
		str_relaytankJSON[i] = 0;
		str_relaywellJSON[i] = 0;
		str_relayline1JSON[i] = 0;
		str_relayline2JSON[i] = 0;
		str_donewateringJSON[i] = 0;
		str_debughourJSON[i] = 0;
		str_debugminuteJSON[i] = 0;
		JSON[i] = 0;
	}

	sprintf(str_tempJSON, "%d", tempJSON);
	sprintf(str_humJSON, "%d", humJSON);
	sprintf(str_flowJSON, "%d", flowJSON);
	sprintf(str_s1JSON, "%d", s1JSON);
	sprintf(str_s2JSON, "%d", s2JSON);
	sprintf(str_s3JSON, "%d", s3JSON);
	sprintf(str_s4JSON, "%d", s4JSON);
	sprintf(str_rainJSON, "%d", rainJSON);
	sprintf(str_daylightJSON, "%d", daylightJSON);
	sprintf(str_tankJSON, "%d", tankJSON);
	sprintf(str_modJSON, "%d", modJSON);
	sprintf(str_relaytankJSON, "%d", relaytankJSON);
	sprintf(str_relaywellJSON, "%d", relaywellJSON);
	sprintf(str_relayline1JSON, "%d", relayline1JSON);
	sprintf(str_relayline2JSON, "%d", relayline2JSON);
	sprintf(str_donewateringJSON, "%d", donewateringJSON);
	sprintf(str_debughourJSON, "%d", debughourJSON);
	sprintf(str_debugminuteJSON, "%d", debugminuteJSON);
	sprintf(str_debugskipdayJSON, "%d", debugskipdayJSON);

	strcat(JSON, "{\"temperature\":\"");
	strcat(JSON, str_tempJSON);
	strcat(JSON, "\",");

	strcat(JSON, "\"humidity\":\"");
	strcat(JSON, str_humJSON);
	strcat(JSON, "\",");

	strcat(JSON, "\"flowrate\":\"");
	strcat(JSON, str_flowJSON);
	strcat(JSON, "\",");

	strcat(JSON, "\"s1\":\"");
	strcat(JSON, str_s1JSON);
	strcat(JSON, "\",");

	strcat(JSON, "\"s2\":\"");
	strcat(JSON, str_s2JSON);
	strcat(JSON, "\",");

	strcat(JSON, "\"s3\":\"");
	strcat(JSON, str_s3JSON);
	strcat(JSON, "\",");

	strcat(JSON, "\"s4\":\"");
	strcat(JSON, str_s4JSON);
	strcat(JSON, "\",");

	strcat(JSON, "\"rain\":\"");
	strcat(JSON, str_rainJSON);
	strcat(JSON, "\",");

	strcat(JSON, "\"daylight\":\"");
	strcat(JSON, str_daylightJSON);
	strcat(JSON, "\",");

	strcat(JSON, "\"tank\":\"");
	strcat(JSON, str_tankJSON);
	strcat(JSON, "\",");

	strcat(JSON, "\"mod\":\"");
	strcat(JSON, str_modJSON);
	strcat(JSON, "\",");

	strcat(JSON, "\"relaytank\":\"");
	strcat(JSON, str_relaytankJSON);
	//relay_set
	strcat(JSON, "\",");

	strcat(JSON, "\"relaywell\":\"");
	strcat(JSON, str_relaywellJSON);
	strcat(JSON, "\",");

	strcat(JSON, "\"relayline1\":\"");
	strcat(JSON, str_relayline1JSON);
	strcat(JSON, "\",");

	strcat(JSON, "\"relayline2\":\"");
	strcat(JSON, str_relayline2JSON);
	strcat(JSON, "\",");

	strcat(JSON, "\"debughour\":\"");
	strcat(JSON, str_debughourJSON);
	strcat(JSON, "\",");

	strcat(JSON, "\"debugminute\":\"");
	strcat(JSON, str_debugminuteJSON);
	strcat(JSON, "\",");

	strcat(JSON, "\"skipday\":\"");
	strcat(JSON, str_debugskipdayJSON);
	strcat(JSON, "\",");

	strcat(JSON, "\"donewatering\":\"");
	strcat(JSON, str_donewateringJSON);
	strcat(JSON, "\"}\n");

	//HAL_Delay(100);
	//printf("%s", JSON);
	HAL_UART_Transmit(&huart6,(uint8_t *)&JSON , strlen(JSON), 0xFFFF);

}

void uart_received(void){
	if(rx_data != '\n'){
		rx_buffer[rx_index++] = rx_data;
	}else{
		XuLyJson(rx_buffer);
		clearbufferEnd();
	}
}

void clearbufferEnd(void){
	rx_index = 0;
	for(int i =0; i <200; i++){
		rx_buffer[i] = 0;
	}
	last = HAL_GetTick();
}

void XuLyJson(char *DataJson){
	str_json = cJSON_Parse(DataJson);
	if(!str_json){
		printf("JSON ERROR! \r\n");
		return;
	}else{
		printf("JSON OK! \r\n");
		if(cJSON_GetObjectItem(str_json, "reqline1")){
			planner_line_compare[0] = cJSON_GetObjectItem(str_json, "reqline1")->valueint;
		}if(cJSON_GetObjectItem(str_json, "reqline2")){
			planner_line_compare[1] = cJSON_GetObjectItem(str_json, "reqline2")->valueint;
		}if(cJSON_GetObjectItem(str_json, "hour")){
			planner_start_time_hours = cJSON_GetObjectItem(str_json, "hour")->valueint;
		}if(cJSON_GetObjectItem(str_json, "minute")){
			planner_start_time_mins = cJSON_GetObjectItem(str_json, "minute")->valueint;
		}if(cJSON_GetObjectItem(str_json, "mon")){
			planner_weekdays[0] = (cJSON_GetObjectItem(str_json, "mon")->valueint) ? 1:0;
		}if(cJSON_GetObjectItem(str_json, "tue")){
			planner_weekdays[1] = (cJSON_GetObjectItem(str_json, "tue")->valueint) ? 1:0;
		}if(cJSON_GetObjectItem(str_json, "wed")){
			planner_weekdays[2] = (cJSON_GetObjectItem(str_json, "wed")->valueint) ? 1:0;
		}if(cJSON_GetObjectItem(str_json, "thu")){
			planner_weekdays[3] = (cJSON_GetObjectItem(str_json, "thu")->valueint) ? 1:0;
		}if(cJSON_GetObjectItem(str_json, "fri")){
			planner_weekdays[4] = (cJSON_GetObjectItem(str_json, "fri")->valueint) ? 1:0;
		}if(cJSON_GetObjectItem(str_json, "sat")){
			planner_weekdays[5] = (cJSON_GetObjectItem(str_json, "sat")->valueint) ? 1:0;
		}if(cJSON_GetObjectItem(str_json, "sun")){
			planner_weekdays[6] = (cJSON_GetObjectItem(str_json, "sun")->valueint) ? 1:0;
		}if(cJSON_GetObjectItem(str_json, "temphigh")){
			auto_limits[0] = cJSON_GetObjectItem(str_json, "temphigh")->valueint;
		}if(cJSON_GetObjectItem(str_json, "templow")){
			auto_limits[1] = cJSON_GetObjectItem(str_json, "templow")->valueint;
		}if(cJSON_GetObjectItem(str_json, "humhigh")){
			auto_limits[2] = cJSON_GetObjectItem(str_json, "humhigh")->valueint;
		}if(cJSON_GetObjectItem(str_json, "humlow")){
			auto_limits[3] = cJSON_GetObjectItem(str_json, "humlow")->valueint;
		}if(cJSON_GetObjectItem(str_json, "debugweek")){
			auto_debug_weekday = cJSON_GetObjectItem(str_json, "debugweek")->valueint;
		}if(cJSON_GetObjectItem(str_json, "debugon")){
			nextday_dummy = (cJSON_GetObjectItem(str_json, "debugon")->valueint) ? 1:0;
		}if(cJSON_GetObjectItem(str_json, "debugswitch")){
			debug_auto_case = cJSON_GetObjectItem(str_json, "debugswitch")->valueint;
		}if(cJSON_GetObjectItem(str_json, "modselect")){
			switch(cJSON_GetObjectItem(str_json, "modselect")->valueint){
				case 0://off
					mode_manual(0);
					mode_dummy = 0;
					skipday = 0;
					global_planner_start = 0;
					break;
				case 1://manual
					mode_manual(1);
					mode_dummy = 1;
					break;
				case 2://planner
					global_planner_start = 1;
					mode_dummy = 2;
					mode_planner(0, global_planner_start);
					break;
				case 3://auto
					mode_auto(1);
					break;
			}
		}
		cJSON_Delete(str_json);
	}
}

void HAL_UART_RxCpltCallback(UART_HandleTypeDef *huart){
	if(huart -> Instance == USART6){
		last = HAL_GetTick();
		uart_received();
		HAL_UART_Receive_IT(&huart6, &rx_data, 1);
	}
}
/*-----------------ESP32 UART END---------------------*/

/*-----------------MENU BEGIN-------------------------*/
void lcd_initial_message(){
	lcd_init ();
	lcd_send_string ("ECODROP");
	HAL_Delay(500);
	lcd_put_cur(1, 0);
	lcd_send_string("Irrigation");
	HAL_Delay(1000);
	lcd_send_cmd (0x01);
	HAL_Delay(100);
	lcd_init ();
	lcd_send_string ("> Manual Mode");
	lcd_put_cur(1, 0);
	lcd_send_string("  Planner Mode  ");

}

void menu_func(int refresh, int reset){
	if(refresh){
		current_page = (reset) ? 0:current_page;
		lcd_clear();
		switch(current_page){
			case 0:
				if(menu_click){
					current_page = 4;
					menu_click = 0;
					menu_func(1, 0);
					break;
				  }else if(menu_down){
					 current_page = 1;
					 menu_down=0;
					 menu_func(1, 0);
					 break;
				  }else if(menu_up){
					 current_page = 3;
					 menu_up =0;
					 menu_func(1, 0);
					 break;
				  }
				lcd_init ();
				lcd_send_string ("> Manual Mode");
				lcd_put_cur(1, 0);
				lcd_send_string("  Planner Mode  ");
				break;

			case 1:
				if(menu_click){
					current_page = 7;
					menu_click = 0;
					menu_func(1, 0);
					break;
				}else if(menu_down){
					current_page = 2;
					menu_down =0;
					menu_func(1, 0);
					break;
				}else if(menu_up){
					current_page = 0;
					menu_up =0;
					menu_func(1, 0);
					break;
				}
				lcd_init ();
				lcd_send_string ("> Planner Mode  ");
				lcd_put_cur(1, 0);
				lcd_send_string("  Auto Mode");
				break;

			case 2:
				if(menu_click){
					current_page = 14;
					menu_click = 0;
					menu_func(1, 0);
					break;
				}else if(menu_down){
					current_page = 3;
					menu_down =0;
					menu_func(1, 0);
					break;
				}else if(menu_up){
					current_page = 1;
					menu_up =0;
					menu_func(1, 0);
					break;
				}
				lcd_init ();
				lcd_send_string ("> Auto Mode");
				lcd_put_cur(1, 0);
				lcd_send_string("  Settings");
				break;

			case 3:
				if(menu_click){
					current_page = 15;
					menu_click = 0;
					menu_func(1, 0);
					break;
				}else if(menu_down){
					current_page = 0;
					menu_down = 0;
					menu_func(1, 0);
					break;
				}else if(menu_up){
					current_page = 2;
					menu_up = 0;
					menu_func(1, 0);
					break;
				}
				lcd_init ();
				lcd_send_string ("> Settings");
				lcd_put_cur(1, 0);
				lcd_send_string("  ");
				break;

			case 4:
				if(menu_click){
					current_page = 6;
					menu_click = 0;
					mode_manual(1);
					menu_func(1, 0);
					break;
				}else if(menu_down){
					current_page = 5;
					menu_down = 0;
					menu_func(1, 0);
					break;
				}else if(menu_up){
					current_page = 5;
					menu_up = 0;
					menu_func(1, 0);
					break;
				}
				lcd_init ();
				lcd_send_string ("> Press Start");
				lcd_put_cur(1, 0);
				lcd_send_string(" Back");
				break;

			case 5:
				if(menu_click){
					current_page = 0;
					menu_click = 0;
					menu_func(1, 0);
					break;
				}else if(menu_down){
					current_page = 4;
					menu_down = 0;
					menu_func(1, 0);
					break;
				}else if(menu_up){
					current_page = 4;
					menu_up = 0;
					menu_func(1, 0);
					break;
				}
				lcd_init ();
				lcd_send_string ("> Back");
				lcd_put_cur(1, 0);
				lcd_send_string("");
				break;

			case 6:
				if(menu_click){
					current_page = 4;
					menu_click = 0;
					mode_manual(0);
					menu_func(1, 0);
				}else{
					current_page = 6;
					menu_up = 0;
					menu_down = 0;
					lcd_init ();
					lcd_send_string ("Watering");
					lcd_put_cur(1, 0);
					lcd_send_string("Now");
				}
				break;

			case 7:
				if(menu_click){
					current_page = 10;
					menu_click = 0;
					menu_func(1, 0);
					break;
				}else if(menu_down){
					current_page = 8;
					menu_down = 0;
					menu_func(1, 0);
					break;
				}else if(menu_up){
					current_page = 13;
					menu_up = 0;
					menu_func(1, 0);
					break;
				}
				lcd_init ();
				lcd_send_string ("> Line 1");
				lcd_put_cur(1, 0);
				lcd_send_string("  Line 2");
				break;

			case 8:
				if(menu_click){
					current_page = 10;
					menu_click = 0;
					menu_func(1, 0);
					break;
				}else if(menu_down){
					current_page = 9;
					menu_down = 0;
					menu_func(1, 0);
					break;
				}else if(menu_up){
					current_page = 7;
					menu_up = 0;
					menu_func(1, 0);
					break;
				}
				lcd_init ();
				lcd_send_string ("> Line 2");
				lcd_put_cur(1, 0);
				lcd_send_string("  Time");
				break;

			case 9:
				if(menu_click){
					current_page = 11;
					menu_click = 0;
					menu_func(1, 0);
					break;
				}else if(menu_down){
					current_page = 12;
					menu_down = 0;
					menu_func(1, 0);
					break;
				}else if(menu_up){
					current_page = 8;
					menu_up = 0;
					menu_func(1, 0);
					break;
				}
				lcd_init ();
				lcd_send_string ("> Time");
				lcd_put_cur(1, 0);
				lcd_send_string("  Start");
				break;

			case 10:
				if(menu_click){
					current_page = 7;
					menu_click = 0;
					menu_func(1, 0);
					break;
				}else{
					current_page = 10;
					lcd_init ();
					lcd_send_string ("> 20");
					lcd_put_cur(1, 0);
					lcd_send_string("  ");
				}
				break;

			case 11:
				if(menu_click){
					current_page = 9;
					menu_click = 0;
					menu_func(1, 0);
					break;
				}else{
					current_page = 11;
					lcd_init ();
					lcd_send_string ("> Clock Loop");
					lcd_put_cur(1, 0);
					lcd_send_string("  ");
				}
				break;

			case 12:
				if(menu_click){
					current_page = 1;
					menu_click = 0;
					global_planner_start = 1;
					mode_planner(0, global_planner_start);
					menu_func(1, 0);
					break;
				}else if(menu_down){
					current_page = 13;
					menu_down = 0;
					menu_func(1, 0);
					break;
				}else if(menu_up){
					current_page = 9;
					menu_up = 0;
					menu_func(1, 0);
					break;
				}
				lcd_init ();
				lcd_send_string ("> Start");
				lcd_put_cur(1, 0);
				lcd_send_string("  Back");
				break;

			case 13:
				if(menu_click){
					current_page = 1;
					menu_click = 0;
					menu_func(1, 0);
					break;
				}else if(menu_down){
					current_page = 7;
					menu_down = 0;
					menu_func(1, 0);
					break;
				}else if(menu_up){
					current_page = 12;
					menu_up = 0;
					menu_func(1, 0);
					break;
				}
				lcd_init ();
				lcd_send_string ("> Back");
				lcd_put_cur(1, 0);
				lcd_send_string(" ");
				break;

			case 14:
				if(menu_click){
					current_page = 2;
					menu_click = 0;
					menu_func(1, 0);
					break;
				}else{
					current_page = 14;
					lcd_init ();
					itoa(inst_temperature, inst_temperature_s,10);
					itoa(inst_humidity,inst_humidity_s,10);
					itoa(adc_result_percentage[0],adc_percentage_s0,10);
					lcd_send_string("T:");
					lcd_send_string(inst_temperature_s);
					lcd_send_string(" H:");
					lcd_send_string(inst_humidity_s);
					lcd_send_string(" S1:");
					lcd_send_string(adc_percentage_s0);
					lcd_put_cur(1, 0);
					itoa(adc_result_percentage[1],adc_percentage_s1,10);
					itoa(adc_result_percentage[2],adc_percentage_s2,10);
					itoa(adc_result_percentage[3],adc_percentage_s3,10);
					lcd_send_string(" S2:");
					lcd_send_string(adc_percentage_s1);
					lcd_send_string(" S3:");
					lcd_send_string(adc_percentage_s2);
					lcd_send_string(" S4:");
					lcd_send_string(adc_percentage_s3);
				}
				break;

			case 15:
				if(menu_click){
					current_page = 11;
					menu_click = 0;
					menu_func(1, 0);
					break;
				}else if(menu_down){
					current_page = 16;
					menu_down = 0;
					menu_func(1, 0);
					break;
				}else if(menu_up){
					current_page = 17;
					menu_up = 0;
					menu_func(1, 0);
					break;
				}
				lcd_init ();
				lcd_send_string ("> Time S.");
				lcd_put_cur(1, 0);
				lcd_send_string("  Bluetooth");
				break;

			case 16:
				if(menu_click){
					current_page = 11;
					menu_click = 0;
					menu_func(1, 0);
					break;
				}else if(menu_down){
					current_page = 17;
					menu_down = 0;
					menu_func(1, 0);
					break;
				}else if(menu_up){
					current_page = 15;
					menu_up = 0;
					menu_func(1, 0);
					break;
				}
				lcd_init ();
				lcd_send_string ("> Bluetooth");
				lcd_put_cur(1, 0);
				lcd_send_string("  Back");
				break;
			case 17:
				if(menu_click){
					current_page = 3;
					menu_click = 0;
					menu_func(1, 0);
					break;
				}else if(menu_down){
					current_page = 15;
					menu_down = 0;
					menu_func(1, 0);
					break;
				}else if(menu_up){
					current_page = 16;
					menu_up = 0;
					menu_func(1, 0);
					break;
				}
				lcd_init ();
				lcd_send_string ("> Back");
				lcd_put_cur(1, 0);
				lcd_send_string("  ");
				break;
		}
		menu_lcd_refresh = 0;
		menu_click= 0;
		menu_up = 0;
		menu_down = 0;
	}
}

/*-----------------MENU END--------------------------*/

/* USER CODE END 4 */

void Error_Handler(void)
{
  __disable_irq();
  while (1)
  {
  }
}

/************************ (C) COPYRIGHT STMicroelectronics *****END OF FILE****/
